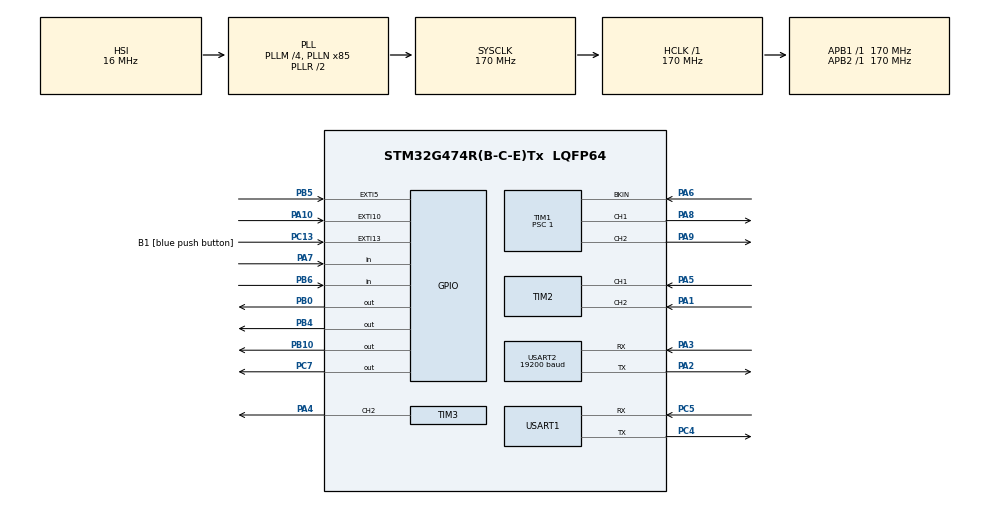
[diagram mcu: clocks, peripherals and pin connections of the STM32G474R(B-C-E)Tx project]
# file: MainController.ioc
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ARM.CMSIS-DSP.1.15.0.CMSISJjDSP=Source
ARM.CMSIS.6.0.0.CMSISJjCORE=true
Dma.Request0=USART2_RX
Dma.Request1=USART1_RX
Dma.Request2=TIM3_CH2
Dma.Request3=USART2_TX
Dma.TIM3_CH2.2.Direction=DMA_MEMORY_TO_PERIPH
Dma.TIM3_CH2.2.EventEnable=DISABLE
Dma.TIM3_CH2.2.Instance=DMA1_Channel3
Dma.TIM3_CH2.2.MemDataAlignment=DMA_MDATAALIGN_HALFWORD
Dma.TIM3_CH2.2.MemInc=DMA_MINC_ENABLE
Dma.TIM3_CH2.2.Mode=DMA_NORMAL
Dma.TIM3_CH2.2.PeriphDataAlignment=DMA_PDATAALIGN_HALFWORD
Dma.TIM3_CH2.2.PeriphInc=DMA_PINC_DISABLE
Dma.TIM3_CH2.2.Polarity=HAL_DMAMUX_REQ_GEN_RISING
Dma.TIM3_CH2.2.Priority=DMA_PRIORITY_LOW
Dma.TIM3_CH2.2.RequestNumber=1
Dma.TIM3_CH2.2.SignalID=NONE
Dma.TIM3_CH2.2.SyncEnable=DISABLE
Dma.TIM3_CH2.2.SyncPolarity=HAL_DMAMUX_SYNC_NO_EVENT
Dma.TIM3_CH2.2.SyncRequestNumber=1
Dma.TIM3_CH2.2.SyncSignalID=NONE
Dma.USART1_RX.1.Direction=DMA_PERIPH_TO_MEMORY
Dma.USART1_RX.1.EventEnable=DISABLE
Dma.USART1_RX.1.Instance=DMA2_Channel2
Dma.USART1_RX.1.MemDataAlignment=DMA_MDATAALIGN_BYTE
Dma.USART1_RX.1.MemInc=DMA_MINC_ENABLE
Dma.USART1_RX.1.Mode=DMA_CIRCULAR
Dma.USART1_RX.1.PeriphDataAlignment=DMA_PDATAALIGN_BYTE
Dma.USART1_RX.1.PeriphInc=DMA_PINC_DISABLE
Dma.USART1_RX.1.Polarity=HAL_DMAMUX_REQ_GEN_RISING
Dma.USART1_RX.1.Priority=DMA_PRIORITY_HIGH
Dma.USART1_RX.1.RequestNumber=1
Dma.USART1_RX.1.SignalID=NONE
Dma.USART1_RX.1.SyncEnable=DISABLE
Dma.USART1_RX.1.SyncPolarity=HAL_DMAMUX_SYNC_NO_EVENT
Dma.USART1_RX.1.SyncRequestNumber=1
Dma.USART1_RX.1.SyncSignalID=NONE
Dma.USART2_RX.0.Direction=DMA_PERIPH_TO_MEMORY
Dma.USART2_RX.0.EventEnable=DISABLE
Dma.USART2_RX.0.Instance=DMA1_Channel2
Dma.USART2_RX.0.MemDataAlignment=DMA_MDATAALIGN_BYTE
Dma.USART2_RX.0.MemInc=DMA_MINC_ENABLE
Dma.USART2_RX.0.Mode=DMA_NORMAL
Dma.USART2_RX.0.PeriphDataAlignment=DMA_PDATAALIGN_BYTE
Dma.USART2_RX.0.PeriphInc=DMA_PINC_DISABLE
Dma.USART2_RX.0.Polarity=HAL_DMAMUX_REQ_GEN_RISING
Dma.USART2_RX.0.Priority=DMA_PRIORITY_LOW
Dma.USART2_RX.0.RequestNumber=1
Dma.USART2_RX.0.SignalID=NONE
Dma.USART2_RX.0.SyncEnable=DISABLE
Dma.USART2_RX.0.SyncPolarity=HAL_DMAMUX_SYNC_NO_EVENT
Dma.USART2_RX.0.SyncRequestNumber=1
Dma.USART2_RX.0.SyncSignalID=NONE
Dma.USART2_TX.3.Direction=DMA_MEMORY_TO_PERIPH
Dma.USART2_TX.3.EventEnable=DISABLE
Dma.USART2_TX.3.Instance=DMA1_Channel1
Dma.USART2_TX.3.MemDataAlignment=DMA_MDATAALIGN_BYTE
Dma.USART2_TX.3.MemInc=DMA_MINC_ENABLE
Dma.USART2_TX.3.Mode=DMA_NORMAL
Dma.USART2_TX.3.PeriphDataAlignment=DMA_PDATAALIGN_BYTE
Dma.USART2_TX.3.PeriphInc=DMA_PINC_DISABLE
Dma.USART2_TX.3.Polarity=HAL_DMAMUX_REQ_GEN_RISING
Dma.USART2_TX.3.Priority=DMA_PRIORITY_LOW
Dma.USART2_TX.3.RequestNumber=1
Dma.USART2_TX.3.SignalID=NONE
Dma.USART2_TX.3.SyncEnable=DISABLE
Dma.USART2_TX.3.SyncPolarity=HAL_DMAMUX_SYNC_NO_EVENT
Dma.USART2_TX.3.SyncRequestNumber=1
Dma.USART2_TX.3.SyncSignalID=NONE
Mcu.Family=STM32G4
Mcu.Name=STM32G474R(B-C-E)Tx
Mcu.Package=LQFP64
NVIC.DMA1_Channel1_IRQn=true\:0\:0\:false\:false\:true\:false\:true\:true
NVIC.DMA1_Channel2_IRQn=true\:0\:0\:false\:false\:true\:false\:true\:true
NVIC.DMA1_Channel3_IRQn=true\:0\:0\:false\:false\:true\:false\:true\:true
NVIC.DMA2_Channel2_IRQn=true\:0\:0\:false\:false\:true\:false\:true\:true
NVIC.EXTI15_10_IRQn=true\:0\:0\:false\:false\:true\:true\:true\:true
NVIC.EXTI9_5_IRQn=true\:0\:0\:false\:false\:true\:true\:true\:true
NVIC.PriorityGroup=NVIC_PRIORITYGROUP_4
NVIC.TIM1_UP_TIM16_IRQn=true\:0\:0\:false\:false\:true\:true\:true\:true
NVIC.TIM4_IRQn=true\:0\:0\:false\:false\:true\:true\:true\:true
NVIC.TIM5_IRQn=true\:0\:0\:false\:false\:true\:true\:true\:true
NVIC.USART2_IRQn=true\:0\:0\:false\:false\:true\:true\:true\:true
PA1.Signal=S_TIM2_CH2
PA10.GPIO_ModeDefaultEXTI=GPIO_MODE_IT_FALLING
PA10.GPIO_PuPd=GPIO_PULLUP
PA10.Signal=GPXTI10
PA13.GPIO_Label=T_SWDIO
PA13.Mode=Trace_Asynchronous_SW
PA13.Signal=SYS_JTMS-SWDIO
PA14.GPIO_Label=T_SWCLK
PA14.Mode=Trace_Asynchronous_SW
PA14.Signal=SYS_JTCK-SWCLK
PA2.Mode=Asynchronous
PA2.Signal=USART2_TX
PA3.Mode=Asynchronous
PA3.Signal=USART2_RX
PA4.Signal=S_TIM3_CH2
PA5.Signal=S_TIM2_CH1
PA6.GPIO_PuPd=GPIO_PULLUP
PA6.Mode=Activate-Break-Input
PA6.Signal=TIM1_BKIN
PA7.GPIO_PuPd=GPIO_PULLUP
PA7.Signal=GPIO_Input
PA8.Signal=S_TIM1_CH1
PA9.Signal=S_TIM1_CH2
PB0.Signal=GPIO_Output
PB10.Signal=GPIO_Output
PB3.GPIO_Label=T_SWO
PB3.Mode=Trace_Asynchronous_SW
PB3.Signal=SYS_JTDO-SWO
PB4.Signal=GPIO_Output
PB5.GPIO_ModeDefaultEXTI=GPIO_MODE_IT_FALLING
PB5.GPIO_PuPd=GPIO_PULLUP
PB5.Signal=GPXTI5
PB6.GPIO_PuPd=GPIO_PULLUP
PB6.Signal=GPIO_Input
PC13.GPIO_Label=B1 [blue push button]
PC13.Signal=GPXTI13
PC14-OSC32_IN.Mode=LSE-External-Oscillator
PC14-OSC32_IN.Signal=RCC_OSC32_IN
PC15-OSC32_OUT.Mode=LSE-External-Oscillator
PC15-OSC32_OUT.Signal=RCC_OSC32_OUT
PC4.Mode=Asynchronous
PC4.Signal=USART1_TX
PC5.Mode=Asynchronous
PC5.Signal=USART1_RX
PC7.Signal=GPIO_Output
PF0-OSC_IN.Mode=HSE-External-Oscillator
PF0-OSC_IN.Signal=RCC_OSC_IN
PF1-OSC_OUT.Mode=HSE-External-Oscillator
PF1-OSC_OUT.Signal=RCC_OSC_OUT
ProjectManager.HeapSize=0x200
ProjectManager.StackSize=0x400
ProjectManager.TargetToolchain=STM32CubeIDE
RCC.ADC12Freq_Value=170000000
RCC.ADC345Freq_Value=170000000
RCC.AHBFreq_Value=170000000
RCC.APB1Freq_Value=170000000
RCC.APB1TimFreq_Value=170000000
RCC.APB2Freq_Value=170000000
RCC.APB2TimFreq_Value=170000000
RCC.CortexFreq_Value=170000000
RCC.EXTERNAL_CLOCK_VALUE=12288000
RCC.HCLKFreq_Value=170000000
RCC.HSE_VALUE=24000000
RCC.HSI48_VALUE=48000000
RCC.HSI_VALUE=16000000
RCC.PLLM=RCC_PLLM_DIV4
RCC.PLLN=85
RCC.RTCClockSelection=RCC_RTCCLKSOURCE_LSE
RCC.SYSCLKFreq_VALUE=170000000
RCC.SYSCLKSource=RCC_SYSCLKSOURCE_PLLCLK
RCC.USBFreq_Value=170000000
RCC.VCOOutputFreq_Value=340000000
SH.S_TIM1_CH1.0=TIM1_CH1,PWM Generation1 CH1
SH.S_TIM1_CH2.0=TIM1_CH2,PWM Generation2 CH2
SH.S_TIM2_CH1.0=TIM2_CH1,Encoder_Interface
SH.S_TIM2_CH2.0=TIM2_CH2,Encoder_Interface
SH.S_TIM3_CH2.0=TIM3_CH2,PWM Generation2 CH2
TIM1.BreakPolarity=TIM_BREAKPOLARITY_LOW
TIM1.Channel-PWM\ Generation1\ CH1=TIM_CHANNEL_1
TIM1.Channel-PWM\ Generation2\ CH2=TIM_CHANNEL_2
TIM1.OCPolarity_1=TIM_OCPOLARITY_HIGH
TIM1.OCPolarity_2=TIM_OCPOLARITY_HIGH
TIM1.Prescaler=1
TIM1.SourceBRKDigInputPolarity=TIM_BREAKINPUTSOURCE_POLARITY_LOW
TIM16.PeriodNoDither=1145
TIM16.Prescaler=169
TIM2.EncoderMode=TIM_ENCODERMODE_TI12
TIM3.Channel-PWM\ Generation2\ CH2=TIM_CHANNEL_2
TIM3.PeriodNoDither=106
TIM3.Prescaler=1
TIM4.PeriodNoDither=999
TIM4.Prescaler=169
TIM5.PeriodNoDither=1999
TIM5.Prescaler=16999
USART1.VirtualMode-Asynchronous=VM_ASYNC
USART2.BaudRate=19200
USART2.Parity=PARITY_EVEN
USART2.VirtualMode-Asynchronous=VM_ASYNC
USART2.WordLength=WORDLENGTH_9B
VP_ARM.CMSIS-DSP_VS_CMSISJjDSP_1.15.0_1.15.0.Mode=CMSISJjDSP
VP_ARM.CMSIS_VS_CMSISJjCORE_6.0.0_6.0.0.Mode=CMSISJjCORE
VP_SYS_VS_DBSignals.Mode=DisableDeadBatterySignals
VP_TIM16_VS_ClockSourceINT.Mode=Enable_Timer
VP_TIM16_VS_OPM.Mode=OPM_bit
VP_TIM1_VS_ClockSourceINT.Mode=Internal
VP_TIM3_VS_ClockSourceINT.Mode=Internal
VP_TIM4_VS_ClockSourceINT.Mode=Internal
VP_TIM5_VS_ClockSourceINT.Mode=Internal
board=NUCLEO-G474RE

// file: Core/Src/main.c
/* USER CODE BEGIN Header */
/**
  ******************************************************************************
  * @file           : main.c
  * @brief          : Main program body
  ******************************************************************************
  * @attention
  *
  * Copyright (c) 2024 STMicroelectronics.
  * All rights reserved.
  *
  * This software is licensed under terms that can be found in the LICENSE file
  * in the root directory of this software component.
  * If no LICENSE file comes with this software, it is provided AS-IS.
  *
  ******************************************************************************
  */
/* USER CODE END Header */
#include "main.h"

/* USER CODE BEGIN Includes */
#include "subroutine.h"
#include "ModBusRTU.h"
#include "arm_math.h"
/* USER CODE END Includes */

TIM_HandleTypeDef htim1;
TIM_HandleTypeDef htim2;
TIM_HandleTypeDef htim3;
TIM_HandleTypeDef htim4;
TIM_HandleTypeDef htim5;
TIM_HandleTypeDef htim16;
DMA_HandleTypeDef hdma_tim3_ch2;

UART_HandleTypeDef huart1;
UART_HandleTypeDef huart2;
DMA_HandleTypeDef hdma_usart1_rx;
DMA_HandleTypeDef hdma_usart2_rx;
DMA_HandleTypeDef hdma_usart2_tx;

/* USER CODE BEGIN PV */
////*JOYSTICK PART
// @User: Joystick receiving buffer
uint8_t joystickPayload[10] = {0};

// @User: Encoder's raw angle from QEI
float qeiRaw = 0;

// @User: Base system receiving buffer

// @User: Motor's parameter
volatile uint8_t zStop = 0;

///*MODBUS PART
ModbusHandleTypedef hmodbus;

uint8_t vacuum;
uint8_t gripper;
uint8_t reed;

u16u8_t registerFrame[200]; //middle between base n z axis (they will see the same.)
uint16_t shelfPos[5];
uint16_t piingpong;
uint16_t setPos;
uint8_t deb = 0;

uint16_t temPick; // temporary shelves order
uint16_t temPlace;
uint16_t pick[5]; // shelves order array
uint16_t place[5];
uint8_t rnd; // jog counter

///*Trajectory PART
double time_op = 2;    // stop time in seconds
double position_goal = 600;   // stop position in meters
double position_now = 0;
double total_displacement = 0;
double total_time = 0;
double t_acc =0;
double t_const = 0;
double Peak = 0;
uint64_t i = 0;
int num_points = 2000;
double t = 0;
float velocity;
float position;
double startTime;
uint16_t Mode = 0;
//uint64_t _micros = 0;
int16_t Vfeedback = 0;
arm_pid_instance_f32 PID = {0};
float qei;
/* USER CODE END PV */

void SystemClock_Config(void);
static void MX_GPIO_Init(void);
static void MX_DMA_Init(void);
static void MX_USART1_UART_Init(void);
static void MX_USART2_UART_Init(void);
static void MX_TIM1_Init(void);
static void MX_TIM2_Init(void);
static void MX_TIM3_Init(void);
static void MX_TIM5_Init(void);
static void MX_TIM16_Init(void);
static void MX_TIM4_Init(void);
/* USER CODE BEGIN PFP */
//void BaseAction(void);
//void OrderSeparate(void);
void generate_trapezoidal_velocity_profile(double t2, double x2);
float PlantSimulation(float VIn) ;
/* USER CODE END PFP */

int main(void)
{

  /* MCU Configuration--------------------------------------------------------*/

  /* Reset of all peripherals, Initializes the Flash interface and the Systick. */
  HAL_Init();

  /* Configure the system clock */
  SystemClock_Config();

  /* Initialize all configured peripherals */
  MX_GPIO_Init();
  MX_DMA_Init();
  MX_USART1_UART_Init();
  MX_USART2_UART_Init();
  MX_TIM1_Init();
  MX_TIM2_Init();
  MX_TIM3_Init();
  MX_TIM5_Init();
  MX_TIM16_Init();
  MX_TIM4_Init();
  /* USER CODE BEGIN 2 */

  ///TRAJECTORY
  PID.Kp =0.1;
  PID.Ki =0.00001;
  PID.Kd = 0.1;

  arm_pid_init_f32(&PID, 0);
  // @User: Setup UART 1 for communication with joy stick
  HAL_UART_Receive_DMA(&huart1, joystickPayload, 10);

  // @User: Setup UART 2 for communication with Base system
  HAL_TIM_Base_Start_IT(&htim5); //open Timer 5 (interrupt)
  hmodbus.huart = &huart2;
  hmodbus.htim = &htim16;
  hmodbus.slaveAddress = 0x15;
  hmodbus.RegisterSize =200;
  Modbus_init(&hmodbus, registerFrame);
  reed = 0;

  shelfPos[0] = 1;
  shelfPos[1] = 2;
  shelfPos[2] = 3;
  shelfPos[3] = 4;
  shelfPos[4] = 5;

  // @User: Setup Timer 1 for Motor drive
  HAL_TIM_Base_Start(&htim1);
  HAL_TIM_PWM_Start(&htim1, TIM_CHANNEL_1);
  HAL_TIM_PWM_Start(&htim1, TIM_CHANNEL_2);

  // @User: Setup Timer 2 as encoder interface
  HAL_TIM_Encoder_Start(&htim2, TIM_CHANNEL_ALL);

  // @User: Setup Timer 3 for sending led data
  HAL_TIM_Base_Start(&htim3);

  // TODO: Test subroutine
//  uint16_t result = retractX();
//  uint16_t result = extendX();
  //uint8_t result = HomeZ();

  /* USER CODE END 2 */

  /* Infinite loop */
  while (1)
  {

    /* USER CODE BEGIN 3 */
	  //TRAJECTORY
	  if (Mode == 1)
	 	  {
	 		  generate_trapezoidal_velocity_profile(time_op, position_goal);
	 	  }

	  // TODO: Test encoder QEI, remove later
	  qeiRaw = (__HAL_TIM_GET_COUNTER(&htim2))*(59.19/8192);

	  Modbus_Protocal_Worker();
	  vacuum = registerFrame[0x02].U16;
	  gripper = registerFrame[0x03].U16;
	  registerFrame[0x04].U16 = reed;

	  ///*MODBUS PART
	  if(registerFrame[0x00].U16 != 22881){
		  registerFrame[0x00].U16 = 22881;
		  deb++;
	  }

 	  static uint16_t timestamp = 0;
 	  //Set shelves
 	  if(registerFrame[0x01].U16 == 1)
 	  {
 		  registerFrame[0x01].U16 = 0;
 		  registerFrame[0x10].U16 = 1;
 		  registerFrame[0x23].U16 = shelfPos[0];
 		  registerFrame[0x24].U16 = shelfPos[1];
 		  registerFrame[0x25].U16 = shelfPos[2];
 		  registerFrame[0x26].U16 = shelfPos[3];
 		  registerFrame[0x27].U16 = shelfPos[4];
 		  //delay 2000ms
 		  timestamp = HAL_GetTick()+2000;
 	  }
 	  if(HAL_GetTick() >= timestamp && (registerFrame[0x10].U16 == 1))
 	  {
 		  registerFrame[0x10].U16 = 0;
 	  }
 	  //Home
 	  if(registerFrame[0x01].U16 == 2)
 	  {
 		  registerFrame[0x01].U16 = 0;
 		  registerFrame[0x10].U16 = 2;
 		  setPos =  shelfPos[0];
 	  }
 	  //point mode
 	  if(registerFrame[0x01].U16 == 8)
 	  {
 		  registerFrame[0x01].U16 = 0;
 		  registerFrame[0x10].U16 = 16;
 		  setPos =  registerFrame[0x30].U16;
 	  }
 	  //reset
 	  if(piingpong == 1 && (registerFrame[0x10].U16 == 2 || registerFrame[0x10].U16 == 16) )//check piingpong status
 	  {
 		  registerFrame[0x10].U16 = 0;
 	  }
 	  //jog mode
 	  if((registerFrame[0x01].U16 == 4))
 	  {
 		  registerFrame[0x01].U16 = 0; //reset status

 	      temPick = (registerFrame[0x21].U16);
 	      temPlace = (registerFrame[0x22].U16);
 	      rnd = 0;
 	      ////// Convert to string
 	      for(uint16_t i = 10000;i>=1;i/=10)
 	      {
 	    	  if(temPick/i == 0 || temPick/i > 5 || temPlace/i == 0 || temPlace/i > 5) // check if 0 or > 5
 	    	  {
 	    		  rnd = 0;
 	    		  break;
 	    	  }
 	    	  pick[rnd] = temPick/i; // use this for pick
 	    	  place[rnd] = temPlace/i; // use this for place
 	    	  temPick = temPick%i;
 	    	  temPlace = temPlace%i;
 	    	  rnd++;
 	      }
 	  }
 	  else if(rnd > 0) //  run Jog
 	  {
 	  		if(registerFrame[0x10].U16 == 0 && rnd == 5 && gripper == 0 && reed == 1 && vacuum == 0) // first rev
 	  		{
 	  			(registerFrame[0x10].U16) = 4; // Z-go pick
 	  			setPos = shelfPos[pick[5-rnd]-1];
 	  		}
 	  		if((piingpong && registerFrame[0x10].U16 == 8)) // prev mode: place, do pick
 	  		{
 	  			///////place down

 	  			if(reed != 2){
 	  				registerFrame[0x03].U16 = 1; // gripper forward
 	  			}
 	  			else //reached
 	  			{
 	  				registerFrame[0x02].U16 = 0; //vacuum off
 	  					//Delay a few sec
 	  				registerFrame[0x03].U16 = 0; //gripper backward
 	  			}
 	  			///////finish place -> move on
 	  			if(gripper == 0 && reed == 1 && vacuum == 0)
 	  			{
 	  				rnd--;
 	  				if(rnd>0)
 	  				{
 	  					(registerFrame[0x10].U16) = 4; // Z-go pick
 	  					setPos = shelfPos[pick[5-rnd]-1];
 	  				}
 	  				else
 	  				{
 	  					(registerFrame[0x10].U16 = 0); // End Jogs
 	  				}
 	  			}
 	  			//MoveTosetPos();
 	  		}
 	  		else if(piingpong && registerFrame[0x10].U16 == 4)// prev mode: pick, do place
 	  		{
 	  			//////pick up
 	  			if(reed != 2)
 	  			{
 	  				registerFrame[0x03].U16 = 1; //gripper forward
 	  			}
 	  			else
 	  			{
 	  				registerFrame[0x02].U16 = 1; //vacuum on
 	  				// Delay a few sec
 	  				registerFrame[0x03].U16 = 0; //gripper backward
 	  			}
 	  			///////finish pick -> move on
 	  			if(gripper == 0 && reed == 1 && vacuum == 1)
 	  			{
 	  				(registerFrame[0x10].U16) = 8; // Z-go place
 	  				setPos = shelfPos[place[5-rnd]-1];
 	  			}
 	  		}

 	  	}

 	  	else if(piingpong && (registerFrame[0x10].U16 == 2 || registerFrame[0x10].U16 == 16))
 	  	{
 	  		//finish point & home mode
 	  		registerFrame[0x10].U16 = 0;
 	  	}
  }
  /* USER CODE END 3 */
}

void SystemClock_Config(void)
{
  RCC_OscInitTypeDef RCC_OscInitStruct = {0};
  RCC_ClkInitTypeDef RCC_ClkInitStruct = {0};

  /** Configure the main internal regulator output voltage
  */
  HAL_PWREx_ControlVoltageScaling(PWR_REGULATOR_VOLTAGE_SCALE1_BOOST);

  /** Initializes the RCC Oscillators according to the specified parameters
  * in the RCC_OscInitTypeDef structure.
  */
  RCC_OscInitStruct.OscillatorType = RCC_OSCILLATORTYPE_HSI;
  RCC_OscInitStruct.HSIState = RCC_HSI_ON;
  RCC_OscInitStruct.HSICalibrationValue = RCC_HSICALIBRATION_DEFAULT;
  RCC_OscInitStruct.PLL.PLLState = RCC_PLL_ON;
  RCC_OscInitStruct.PLL.PLLSource = RCC_PLLSOURCE_HSI;
  RCC_OscInitStruct.PLL.PLLM = RCC_PLLM_DIV4;
  RCC_OscInitStruct.PLL.PLLN = 85;
  RCC_OscInitStruct.PLL.PLLP = RCC_PLLP_DIV2;
  RCC_OscInitStruct.PLL.PLLQ = RCC_PLLQ_DIV2;
  RCC_OscInitStruct.PLL.PLLR = RCC_PLLR_DIV2;
  if (HAL_RCC_OscConfig(&RCC_OscInitStruct) != HAL_OK)
  {
    Error_Handler();
  }

  /** Initializes the CPU, AHB and APB buses clocks
  */
  RCC_ClkInitStruct.ClockType = RCC_CLOCKTYPE_HCLK|RCC_CLOCKTYPE_SYSCLK
                              |RCC_CLOCKTYPE_PCLK1|RCC_CLOCKTYPE_PCLK2;
  RCC_ClkInitStruct.SYSCLKSource = RCC_SYSCLKSOURCE_PLLCLK;
  RCC_ClkInitStruct.AHBCLKDivider = RCC_SYSCLK_DIV1;
  RCC_ClkInitStruct.APB1CLKDivider = RCC_HCLK_DIV1;
  RCC_ClkInitStruct.APB2CLKDivider = RCC_HCLK_DIV1;

  if (HAL_RCC_ClockConfig(&RCC_ClkInitStruct, FLASH_LATENCY_4) != HAL_OK)
  {
    Error_Handler();
  }
}

static void MX_TIM1_Init(void)
{

  TIM_ClockConfigTypeDef sClockSourceConfig = {0};
  TIM_MasterConfigTypeDef sMasterConfig = {0};
  TIMEx_BreakInputConfigTypeDef sBreakInputConfig = {0};
  TIM_OC_InitTypeDef sConfigOC = {0};
  TIM_BreakDeadTimeConfigTypeDef sBreakDeadTimeConfig = {0};

  htim1.Instance = TIM1;
  htim1.Init.Prescaler = 1;
  htim1.Init.CounterMode = TIM_COUNTERMODE_UP;
  htim1.Init.Period = 65535;
  htim1.Init.ClockDivision = TIM_CLOCKDIVISION_DIV1;
  htim1.Init.RepetitionCounter = 0;
  htim1.Init.AutoReloadPreload = TIM_AUTORELOAD_PRELOAD_DISABLE;
  if (HAL_TIM_Base_Init(&htim1) != HAL_OK)
  {
    Error_Handler();
  }
  sClockSourceConfig.ClockSource = TIM_CLOCKSOURCE_INTERNAL;
  if (HAL_TIM_ConfigClockSource(&htim1, &sClockSourceConfig) != HAL_OK)
  {
    Error_Handler();
  }
  if (HAL_TIM_PWM_Init(&htim1) != HAL_OK)
  {
    Error_Handler();
  }
  sMasterConfig.MasterOutputTrigger = TIM_TRGO_RESET;
  sMasterConfig.MasterOutputTrigger2 = TIM_TRGO2_RESET;
  sMasterConfig.MasterSlaveMode = TIM_MASTERSLAVEMODE_DISABLE;
  if (HAL_TIMEx_MasterConfigSynchronization(&htim1, &sMasterConfig) != HAL_OK)
  {
    Error_Handler();
  }
  sBreakInputConfig.Source = TIM_BREAKINPUTSOURCE_BKIN;
  sBreakInputConfig.Enable = TIM_BREAKINPUTSOURCE_ENABLE;
  sBreakInputConfig.Polarity = TIM_BREAKINPUTSOURCE_POLARITY_LOW;
  if (HAL_TIMEx_ConfigBreakInput(&htim1, TIM_BREAKINPUT_BRK, &sBreakInputConfig) != HAL_OK)
  {
    Error_Handler();
  }
  sConfigOC.OCMode = TIM_OCMODE_PWM1;
  sConfigOC.Pulse = 0;
  sConfigOC.OCPolarity = TIM_OCPOLARITY_HIGH;
  sConfigOC.OCNPolarity = TIM_OCNPOLARITY_HIGH;
  sConfigOC.OCFastMode = TIM_OCFAST_DISABLE;
  sConfigOC.OCIdleState = TIM_OCIDLESTATE_RESET;
  sConfigOC.OCNIdleState = TIM_OCNIDLESTATE_RESET;
  if (HAL_TIM_PWM_ConfigChannel(&htim1, &sConfigOC, TIM_CHANNEL_1) != HAL_OK)
  {
    Error_Handler();
  }
  if (HAL_TIM_PWM_ConfigChannel(&htim1, &sConfigOC, TIM_CHANNEL_2) != HAL_OK)
  {
    Error_Handler();
  }
  sBreakDeadTimeConfig.OffStateRunMode = TIM_OSSR_DISABLE;
  sBreakDeadTimeConfig.OffStateIDLEMode = TIM_OSSI_DISABLE;
  sBreakDeadTimeConfig.LockLevel = TIM_LOCKLEVEL_OFF;
  sBreakDeadTimeConfig.DeadTime = 0;
  sBreakDeadTimeConfig.BreakState = TIM_BREAK_ENABLE;
  sBreakDeadTimeConfig.BreakPolarity = TIM_BREAKPOLARITY_LOW;
  sBreakDeadTimeConfig.BreakFilter = 0;
  sBreakDeadTimeConfig.BreakAFMode = TIM_BREAK_AFMODE_INPUT;
  sBreakDeadTimeConfig.Break2State = TIM_BREAK2_DISABLE;
  sBreakDeadTimeConfig.Break2Polarity = TIM_BREAK2POLARITY_HIGH;
  sBreakDeadTimeConfig.Break2Filter = 0;
  sBreakDeadTimeConfig.Break2AFMode = TIM_BREAK_AFMODE_INPUT;
  sBreakDeadTimeConfig.AutomaticOutput = TIM_AUTOMATICOUTPUT_DISABLE;
  if (HAL_TIMEx_ConfigBreakDeadTime(&htim1, &sBreakDeadTimeConfig) != HAL_OK)
  {
    Error_Handler();
  }
  HAL_TIM_MspPostInit(&htim1);

}

static void MX_TIM2_Init(void)
{

  TIM_Encoder_InitTypeDef sConfig = {0};
  TIM_MasterConfigTypeDef sMasterConfig = {0};

  htim2.Instance = TIM2;
  htim2.Init.Prescaler = 0;
  htim2.Init.CounterMode = TIM_COUNTERMODE_UP;
  htim2.Init.Period = 4294967295;
  htim2.Init.ClockDivision = TIM_CLOCKDIVISION_DIV1;
  htim2.Init.AutoReloadPreload = TIM_AUTORELOAD_PRELOAD_DISABLE;
  sConfig.EncoderMode = TIM_ENCODERMODE_TI12;
  sConfig.IC1Polarity = TIM_ICPOLARITY_RISING;
  sConfig.IC1Selection = TIM_ICSELECTION_DIRECTTI;
  sConfig.IC1Prescaler = TIM_ICPSC_DIV1;
  sConfig.IC1Filter = 0;
  sConfig.IC2Polarity = TIM_ICPOLARITY_RISING;
  sConfig.IC2Selection = TIM_ICSELECTION_DIRECTTI;
  sConfig.IC2Prescaler = TIM_ICPSC_DIV1;
  sConfig.IC2Filter = 0;
  if (HAL_TIM_Encoder_Init(&htim2, &sConfig) != HAL_OK)
  {
    Error_Handler();
  }
  sMasterConfig.MasterOutputTrigger = TIM_TRGO_RESET;
  sMasterConfig.MasterSlaveMode = TIM_MASTERSLAVEMODE_DISABLE;
  if (HAL_TIMEx_MasterConfigSynchronization(&htim2, &sMasterConfig) != HAL_OK)
  {
    Error_Handler();
  }

}

static void MX_TIM3_Init(void)
{

  TIM_ClockConfigTypeDef sClockSourceConfig = {0};
  TIM_MasterConfigTypeDef sMasterConfig = {0};
  TIM_OC_InitTypeDef sConfigOC = {0};

  htim3.Instance = TIM3;
  htim3.Init.Prescaler = 1;
  htim3.Init.CounterMode = TIM_COUNTERMODE_UP;
  htim3.Init.Period = 106;
  htim3.Init.ClockDivision = TIM_CLOCKDIVISION_DIV1;
  htim3.Init.AutoReloadPreload = TIM_AUTORELOAD_PRELOAD_DISABLE;
  if (HAL_TIM_Base_Init(&htim3) != HAL_OK)
  {
    Error_Handler();
  }
  sClockSourceConfig.ClockSource = TIM_CLOCKSOURCE_INTERNAL;
  if (HAL_TIM_ConfigClockSource(&htim3, &sClockSourceConfig) != HAL_OK)
  {
    Error_Handler();
  }
  if (HAL_TIM_PWM_Init(&htim3) != HAL_OK)
  {
    Error_Handler();
  }
  sMasterConfig.MasterOutputTrigger = TIM_TRGO_RESET;
  sMasterConfig.MasterSlaveMode = TIM_MASTERSLAVEMODE_DISABLE;
  if (HAL_TIMEx_MasterConfigSynchronization(&htim3, &sMasterConfig) != HAL_OK)
  {
    Error_Handler();
  }
  sConfigOC.OCMode = TIM_OCMODE_PWM1;
  sConfigOC.Pulse = 0;
  sConfigOC.OCPolarity = TIM_OCPOLARITY_HIGH;
  sConfigOC.OCFastMode = TIM_OCFAST_DISABLE;
  if (HAL_TIM_PWM_ConfigChannel(&htim3, &sConfigOC, TIM_CHANNEL_2) != HAL_OK)
  {
    Error_Handler();
  }
  HAL_TIM_MspPostInit(&htim3);

}

static void MX_TIM4_Init(void)
{

  TIM_ClockConfigTypeDef sClockSourceConfig = {0};
  TIM_MasterConfigTypeDef sMasterConfig = {0};

  htim4.Instance = TIM4;
  htim4.Init.Prescaler = 169;
  htim4.Init.CounterMode = TIM_COUNTERMODE_UP;
  htim4.Init.Period = 999;
  htim4.Init.ClockDivision = TIM_CLOCKDIVISION_DIV1;
  htim4.Init.AutoReloadPreload = TIM_AUTORELOAD_PRELOAD_DISABLE;
  if (HAL_TIM_Base_Init(&htim4) != HAL_OK)
  {
    Error_Handler();
  }
  sClockSourceConfig.ClockSource = TIM_CLOCKSOURCE_INTERNAL;
  if (HAL_TIM_ConfigClockSource(&htim4, &sClockSourceConfig) != HAL_OK)
  {
    Error_Handler();
  }
  sMasterConfig.MasterOutputTrigger = TIM_TRGO_RESET;
  sMasterConfig.MasterSlaveMode = TIM_MASTERSLAVEMODE_DISABLE;
  if (HAL_TIMEx_MasterConfigSynchronization(&htim4, &sMasterConfig) != HAL_OK)
  {
    Error_Handler();
  }

}

static void MX_TIM5_Init(void)
{

  TIM_ClockConfigTypeDef sClockSourceConfig = {0};
  TIM_MasterConfigTypeDef sMasterConfig = {0};

  htim5.Instance = TIM5;
  htim5.Init.Prescaler = 16999;
  htim5.Init.CounterMode = TIM_COUNTERMODE_UP;
  htim5.Init.Period = 1999;
  htim5.Init.ClockDivision = TIM_CLOCKDIVISION_DIV1;
  htim5.Init.AutoReloadPreload = TIM_AUTORELOAD_PRELOAD_DISABLE;
  if (HAL_TIM_Base_Init(&htim5) != HAL_OK)
  {
    Error_Handler();
  }
  sClockSourceConfig.ClockSource = TIM_CLOCKSOURCE_INTERNAL;
  if (HAL_TIM_ConfigClockSource(&htim5, &sClockSourceConfig) != HAL_OK)
  {
    Error_Handler();
  }
  sMasterConfig.MasterOutputTrigger = TIM_TRGO_RESET;
  sMasterConfig.MasterSlaveMode = TIM_MASTERSLAVEMODE_DISABLE;
  if (HAL_TIMEx_MasterConfigSynchronization(&htim5, &sMasterConfig) != HAL_OK)
  {
    Error_Handler();
  }

}

static void MX_TIM16_Init(void)
{

  htim16.Instance = TIM16;
  htim16.Init.Prescaler = 169;
  htim16.Init.CounterMode = TIM_COUNTERMODE_UP;
  htim16.Init.Period = 1145;
  htim16.Init.ClockDivision = TIM_CLOCKDIVISION_DIV1;
  htim16.Init.RepetitionCounter = 0;
  htim16.Init.AutoReloadPreload = TIM_AUTORELOAD_PRELOAD_DISABLE;
  if (HAL_TIM_Base_Init(&htim16) != HAL_OK)
  {
    Error_Handler();
  }
  if (HAL_TIM_OnePulse_Init(&htim16, TIM_OPMODE_SINGLE) != HAL_OK)
  {
    Error_Handler();
  }

}

static void MX_USART1_UART_Init(void)
{

  huart1.Instance = USART1;
  huart1.Init.BaudRate = 115200;
  huart1.Init.WordLength = UART_WORDLENGTH_8B;
  huart1.Init.StopBits = UART_STOPBITS_1;
  huart1.Init.Parity = UART_PARITY_NONE;
  huart1.Init.Mode = UART_MODE_TX_RX;
  huart1.Init.HwFlowCtl = UART_HWCONTROL_NONE;
  huart1.Init.OverSampling = UART_OVERSAMPLING_16;
  huart1.Init.OneBitSampling = UART_ONE_BIT_SAMPLE_DISABLE;
  huart1.Init.ClockPrescaler = UART_PRESCALER_DIV1;
  huart1.AdvancedInit.AdvFeatureInit = UART_ADVFEATURE_NO_INIT;
  if (HAL_UART_Init(&huart1) != HAL_OK)
  {
    Error_Handler();
  }
  if (HAL_UARTEx_SetTxFifoThreshold(&huart1, UART_TXFIFO_THRESHOLD_1_8) != HAL_OK)
  {
    Error_Handler();
  }
  if (HAL_UARTEx_SetRxFifoThreshold(&huart1, UART_RXFIFO_THRESHOLD_1_8) != HAL_OK)
  {
    Error_Handler();
  }
  if (HAL_UARTEx_DisableFifoMode(&huart1) != HAL_OK)
  {
    Error_Handler();
  }

}

static void MX_USART2_UART_Init(void)
{

  huart2.Instance = USART2;
  huart2.Init.BaudRate = 19200;
  huart2.Init.WordLength = UART_WORDLENGTH_9B;
  huart2.Init.StopBits = UART_STOPBITS_1;
  huart2.Init.Parity = UART_PARITY_EVEN;
  huart2.Init.Mode = UART_MODE_TX_RX;
  huart2.Init.HwFlowCtl = UART_HWCONTROL_NONE;
  huart2.Init.OverSampling = UART_OVERSAMPLING_16;
  huart2.Init.OneBitSampling = UART_ONE_BIT_SAMPLE_DISABLE;
  huart2.Init.ClockPrescaler = UART_PRESCALER_DIV1;
  huart2.AdvancedInit.AdvFeatureInit = UART_ADVFEATURE_NO_INIT;
  if (HAL_UART_Init(&huart2) != HAL_OK)
  {
    Error_Handler();
  }
  if (HAL_UARTEx_SetTxFifoThreshold(&huart2, UART_TXFIFO_THRESHOLD_1_8) != HAL_OK)
  {
    Error_Handler();
  }
  if (HAL_UARTEx_SetRxFifoThreshold(&huart2, UART_RXFIFO_THRESHOLD_1_8) != HAL_OK)
  {
    Error_Handler();
  }
  if (HAL_UARTEx_DisableFifoMode(&huart2) != HAL_OK)
  {
    Error_Handler();
  }

}

static void MX_DMA_Init(void)
{

  /* DMA controller clock enable */
  __HAL_RCC_DMAMUX1_CLK_ENABLE();
  __HAL_RCC_DMA1_CLK_ENABLE();
  __HAL_RCC_DMA2_CLK_ENABLE();

  /* DMA interrupt init */
  /* DMA1_Channel1_IRQn interrupt configuration */
  HAL_NVIC_SetPriority(DMA1_Channel1_IRQn, 0, 0);
  HAL_NVIC_EnableIRQ(DMA1_Channel1_IRQn);
  /* DMA1_Channel2_IRQn interrupt configuration */
  HAL_NVIC_SetPriority(DMA1_Channel2_IRQn, 0, 0);
  HAL_NVIC_EnableIRQ(DMA1_Channel2_IRQn);
  /* DMA1_Channel3_IRQn interrupt configuration */
  HAL_NVIC_SetPriority(DMA1_Channel3_IRQn, 0, 0);
  HAL_NVIC_EnableIRQ(DMA1_Channel3_IRQn);
  /* DMA2_Channel2_IRQn interrupt configuration */
  HAL_NVIC_SetPriority(DMA2_Channel2_IRQn, 0, 0);
  HAL_NVIC_EnableIRQ(DMA2_Channel2_IRQn);

}

static void MX_GPIO_Init(void)
{
  GPIO_InitTypeDef GPIO_InitStruct = {0};

  /* GPIO Ports Clock Enable */
  __HAL_RCC_GPIOC_CLK_ENABLE();
  __HAL_RCC_GPIOF_CLK_ENABLE();
  __HAL_RCC_GPIOA_CLK_ENABLE();
  __HAL_RCC_GPIOB_CLK_ENABLE();

  /*Configure GPIO pin Output Level */
  HAL_GPIO_WritePin(GPIOB, GPIO_PIN_0|GPIO_PIN_10|GPIO_PIN_4, GPIO_PIN_RESET);

  /*Configure GPIO pin Output Level */
  HAL_GPIO_WritePin(GPIOC, GPIO_PIN_7, GPIO_PIN_RESET);

  /*Configure GPIO pin : B1_Pin */
  GPIO_InitStruct.Pin = B1_Pin;
  GPIO_InitStruct.Mode = GPIO_MODE_IT_RISING;
  GPIO_InitStruct.Pull = GPIO_NOPULL;
  HAL_GPIO_Init(B1_GPIO_Port, &GPIO_InitStruct);

  /*Configure GPIO pin : PA7 */
  GPIO_InitStruct.Pin = GPIO_PIN_7;
  GPIO_InitStruct.Mode = GPIO_MODE_INPUT;
  GPIO_InitStruct.Pull = GPIO_PULLUP;
  HAL_GPIO_Init(GPIOA, &GPIO_InitStruct);

  /*Configure GPIO pins : PB0 PB10 PB4 */
  GPIO_InitStruct.Pin = GPIO_PIN_0|GPIO_PIN_10|GPIO_PIN_4;
  GPIO_InitStruct.Mode = GPIO_MODE_OUTPUT_PP;
  GPIO_InitStruct.Pull = GPIO_NOPULL;
  GPIO_InitStruct.Speed = GPIO_SPEED_FREQ_LOW;
  HAL_GPIO_Init(GPIOB, &GPIO_InitStruct);

  /*Configure GPIO pin : PC7 */
  GPIO_InitStruct.Pin = GPIO_PIN_7;
  GPIO_InitStruct.Mode = GPIO_MODE_OUTPUT_PP;
  GPIO_InitStruct.Pull = GPIO_NOPULL;
  GPIO_InitStruct.Speed = GPIO_SPEED_FREQ_LOW;
  HAL_GPIO_Init(GPIOC, &GPIO_InitStruct);

  /*Configure GPIO pin : PA10 */
  GPIO_InitStruct.Pin = GPIO_PIN_10;
  GPIO_InitStruct.Mode = GPIO_MODE_IT_FALLING;
  GPIO_InitStruct.Pull = GPIO_PULLUP;
  HAL_GPIO_Init(GPIOA, &GPIO_InitStruct);

  /*Configure GPIO pin : PB5 */
  GPIO_InitStruct.Pin = GPIO_PIN_5;
  GPIO_InitStruct.Mode = GPIO_MODE_IT_FALLING;
  GPIO_InitStruct.Pull = GPIO_PULLUP;
  HAL_GPIO_Init(GPIOB, &GPIO_InitStruct);

  /*Configure GPIO pin : PB6 */
  GPIO_InitStruct.Pin = GPIO_PIN_6;
  GPIO_InitStruct.Mode = GPIO_MODE_INPUT;
  GPIO_InitStruct.Pull = GPIO_PULLUP;
  HAL_GPIO_Init(GPIOB, &GPIO_InitStruct);

  /* EXTI interrupt init*/
  HAL_NVIC_SetPriority(EXTI9_5_IRQn, 0, 0);
  HAL_NVIC_EnableIRQ(EXTI9_5_IRQn);

  HAL_NVIC_SetPriority(EXTI15_10_IRQn, 0, 0);
  HAL_NVIC_EnableIRQ(EXTI15_10_IRQn);

}

/* USER CODE BEGIN 4 */

///TRAJECTORY
void generate_trapezoidal_velocity_profile(double t2, double x2) {
  // Total displacement and time interval
	total_displacement = x2 - position_now;
	total_time = t2;

  // Calculate optimal acceleration time (t_acc) - Assume a reasonable value
	t_acc = total_time / 4;  // This is an assumption; you can adjust it

  // Remaining time for constant velocity phase
	t_const = total_time - 2 * t_acc;

  // Calculate peak velocity
	Peak = total_displacement / (t_acc + t_const);

	HAL_TIM_Base_Start_IT(&htim2);

	Mode = 0;

  }

void generate_Velocity()
{
	t = (time_op) * i / num_points;
		        if (t < t_acc) {
		          velocity = (Peak * (t / t_acc));
		        } else if (t >= t_acc && t <+ t_acc + t_const) {
		          velocity = Peak;
		        } else {
		          velocity = (Peak * ((time_op - t) / t_acc));
		        }
		        position += velocity/1000.0;

		        position_now = position;

		        Vfeedback = arm_pid_f32(&PID, position_now - qei);

		        if(Vfeedback < 0)
		        {
		        	__HAL_TIM_SET_COMPARE(&htim3, TIM_CHANNEL_1, Vfeedback);
		        	__HAL_TIM_SET_COMPARE(&htim3, TIM_CHANNEL_2, 0);
		        }
		        else if(Vfeedback > 0)
		        {
		        	__HAL_TIM_SET_COMPARE(&htim3, TIM_CHANNEL_2, Vfeedback);
		        	__HAL_TIM_SET_COMPARE(&htim3, TIM_CHANNEL_1, 0);
		        }
		        else
		        {
		        	__HAL_TIM_SET_COMPARE(&htim3, TIM_CHANNEL_2, Vfeedback);
		        	__HAL_TIM_SET_COMPARE(&htim3, TIM_CHANNEL_1, Vfeedback);
		        }

//		        qei = PlantSimulation(Vfeeback);

		        if ( i >= time_op*1000)
		        {
		        	__HAL_TIM_SET_COUNTER(&htim4, 0);
		        	HAL_TIM_Base_Stop_IT(&htim4);
		        	i = 0;
		        }
}

float PlantSimulation(float VIn) // run with fix frequency
{
static float speed =0;
static float qei =0;
float current= VIn - speed * 0.0123;
float torque = current * 0.456;
float acc = torque * 0.789;
speed += acc;
qei += speed;
return qei;
}

//uint64_t micros()
//{
//return __HAL_TIM_GET_COUNTER(&htim2)+_micros;
//}
//void BaseAction(void){
//
//	///// vacuum & gripper ////////////////
//		reed = r1_state + 2 * r2_state;
//		vacuum = registerFrame[0x02].U16; // 1 on , 0 off
//		gripper = registerFrame[0x03].U16; // 1 forward , 0 backward
//		registerFrame[0x04].U16 = reed;  // 1 for withdrawn , 2 for extracted
//		HAL_GPIO_WritePin(GPIOB, GPIO_PIN_7, vacuum);
//		gripperEvent();
//
//		registerFrame[0x11].U16 = (uint16_t)(linear_position * 10); //Position
//		registerFrame[0x12].U16 = (uint16_t)(linear_velocity * 10); //Velocity
//		registerFrame[0x13].U16 = (uint16_t)(linear_accel * 10)	; //Acceleration
//		registerFrame[0x40].U16 = x_pos; // X-axis Position
//
//	////Set Shelves
//		static uint64_t timestamp = 0;
//		if((registerFrame[0x01].U16) == 1)
//		{
//			(registerFrame[0x01].U16) = 0; //reset status
//			(registerFrame[0x10].U16) = 1; // Z-setting shelve
//			// 1st -> 5th shelve position // unit : mm*10
//			(registerFrame[0x23].U16) = shelvePos[0];
//			(registerFrame[0x24].U16) = shelvePos[1];
//			(registerFrame[0x25].U16) = shelvePos[2];
//			(registerFrame[0x26].U16) = shelvePos[3];
//			(registerFrame[0x27].U16) = shelvePos[4];
//		}
//
//	////home
//		else if((registerFrame[0x01].U16 == 2))
//		{
//			(registerFrame[0x01].U16) = 0; //reset status
//			(registerFrame[0x10].U16) = 2; //Z-home
//
//			Goal = shelvePos[0]; // set goal to home
//		}
//	//// read & run Point
//		else if((registerFrame[0x01].U16) == 8)
//		{
//			(registerFrame[0x01].U16) = 0; //reset status
//			(registerFrame[0x10].U16) = 16; // Z-go point
//
//			Goal = (registerFrame[0x30].U16); // goal = point
//		}
//	//// read Jog (convert to array)
//		else if((registerFrame[0x01].U16 == 4))
//		{
//			(registerFrame[0x01].U16) = 0; //reset status
//
//			orderPick = (registerFrame[0x21].U16);
//			orderPlace = (registerFrame[0x22].U16);
//			OrderSeparate();
//		}
//	//// run Jog ////
//		else if(j > 0)
//		{
//			if(registerFrame[0x10].U16 == 0 && j == 5 && gripper == 0 && reed == 1 && vacuum == 0) // first rev
//			{
//				mode = 0; // for debug
//				(registerFrame[0x10].U16) = 4; // Z-go pick
//				Goal = shelvePos[pick[5-j]-1];
//			}
//			if((flagPID && registerFrame[0x10].U16 == 8)) // prev mode: place, do pick
//			{
//				///////place down
//				mode = 6;
//				if(reed != 2 && j>0){
//
//					registerFrame[0x03].U16 = 1; // gripper forward
//				}
//				else if(registerFrame[0x02].U16 == 1)//reached reed vacuum not off
//				{
//					registerFrame[0x02].U16 = 0; //vacuum off
//					timestamp = HAL_GetTick() + 500; // 0.5 sec delay
//				}
//				else if(HAL_GetTick() >= timestamp)
//				{
//					registerFrame[0x03].U16 = 0; //gripper backward
//				}
//				///////finish place -> move on
//				if(gripper == 0 && reed == 1 && vacuum == 0)
//				{
//					j--;
//					if(j>0)
//					{
//						(registerFrame[0x10].U16) = 4; // Z-go pick
//						Goal = shelvePos[pick[5-j]-1];
//					}
//				}
//			}
//			else if(flagPID && registerFrame[0x10].U16 == 4)// prev mode: pick, do place
//			{
//				//////pick up
//				mode = 9;
//				if(reed == 1)
//				{
//					registerFrame[0x02].U16 = 1; //vacuum on
//					registerFrame[0x03].U16 = 1; //gripper forward
//				}
//
//				else if(reed == 2)
//				{
//					registerFrame[0x03].U16 = 0; //gripper backward
//				}
//				///////finish pick -> move on
//				if(gripper == 0 && reed == 1 && vacuum == 1)
//				{
//					(registerFrame[0x10].U16) = 8; // Z-go place
//					Goal = shelvePos[place[5-j]-1];
//				}
//			}
//		}
//	////End Jog//
//		else if(registerFrame[0x10].U16 == 8 && j == 0)
//		{
//			(registerFrame[0x10].U16 = 0); // End Jogs
//		}
//	//End point & Home//
//		else if(flagPID && (registerFrame[0x10].U16 == 2 || registerFrame[0x10].U16 == 16))
//		{
//			//finish point & home mode
//			static uint64_t Timestamp = 0;
//			if(jj == 0){
//				Timestamp = HAL_GetTick() + 1000; //delay
//				jj = 1;
//			}
//			else if(HAL_GetTick() >= Timestamp)
//			{
//				registerFrame[0x10].U16 = 0; // finish point & home mode
//				jj = 0;
//			}
//		}
//
//	}
//void OrderSeparate(void)
//{
//j = 0;
//////// Convert to string
//for(uint16_t i = 10000;i>=1;i/=10)
//{
//if(orderPick/i <= 0 || orderPick/i > 5 || orderPlace/i <= 0 || orderPlace/i > 5) // check if 0 or > 5
//{
//j = 0;
//mode = 100;
//break;
//}
//pick[j] = orderPick/i; // use this for pick
//place[j] = orderPlace/i; // use this for place
//orderPick = orderPick%i;
//orderPlace = orderPlace%i;
//j++;
//}
//}

/* 	@User : Move motor
 *
 * 	Function: serviceMotor
 * 	Description: Low level API to control motor
 *	Return type : void
 *
 *	Parameter:
 *		pwm: (unsigned 32-bit integer) Motor pwm value
 *		dir: (unsigned 8-bit integer) Motor direction
 *
 */

void serviceMotor(uint32_t pwm, uint8_t dir){

	zStop = 0;
	if(dir){
		__HAL_TIM_SET_COMPARE(&htim1, TIM_CHANNEL_1, pwm);
		__HAL_TIM_SET_COMPARE(&htim1, TIM_CHANNEL_2, 0);
	}
	else{
		__HAL_TIM_SET_COMPARE(&htim1, TIM_CHANNEL_1, 0);
		__HAL_TIM_SET_COMPARE(&htim1, TIM_CHANNEL_2, pwm);
	}
}

/* 	@User : Get encoder value
 *
 * 	Function: getEncoderValue
 * 	Description: Low level API to get qei's counter
 *	Return type : uint32_t
 *
 *	Parameter:
 *		void
 *
 */

uint32_t getEncoderValue(){
	return __HAL_TIM_GET_COUNTER(&htim2);
}

/* 	@User : Zero encoder value
 *
 * 	Function: zeroEncoderValue
 * 	Description: Low level API to reset encoder's qei counter to 10,000 (this is for overhead)
 *	Return type : void
 *
 *	Parameter:
 *		void
 *
 */

void zeroEncoderValue(){
	__HAL_TIM_SET_COUNTER(&htim2, 10000);
}

/* 	@User : Get zStop
 *
 * 	Function: getZStop
 * 	Description: Low level API to get ZStop flag
 *	Return type : uint8_t
 *
 *	Parameter:
 *		void
 *
 */

uint8_t getZStop(){
	return zStop;
}

// @User : Stop motor when hit the end stop
void HAL_GPIO_EXTI_Callback(uint16_t GPIO_Pin){
	if(GPIO_Pin == GPIO_PIN_13)
	{
		Mode = 1;
	}
	else if(GPIO_Pin == GPIO_PIN_5 || GPIO_Pin == GPIO_PIN_10){
		__HAL_TIM_SET_COMPARE(&htim1, TIM_CHANNEL_1, 0);
		__HAL_TIM_SET_COMPARE(&htim1, TIM_CHANNEL_2, 0);
		zStop = 1;
	}
}

// @User : Stop timer3 that send data to led
void HAL_TIM_PWM_PulseFinishedCallback(TIM_HandleTypeDef *htim)
{
	if(htim -> Instance == TIM3){
		HAL_TIM_PWM_Stop_DMA(&htim3, TIM_CHANNEL_2);
	}

}

//Callback -> Timer finish
void HAL_TIM_PeriodElapsedCallback(TIM_HandleTypeDef *htim){
	if(htim == &htim5)
	{
		registerFrame[0x00].U16 = 22881; //send "Ya"
	}
	if(htim == &htim4)
	{
		i+=1;
		generate_Velocity();

	}

}
/* USER CODE END 4 */

void Error_Handler(void)
{
  __disable_irq();
  while (1)
  {
  }
}
